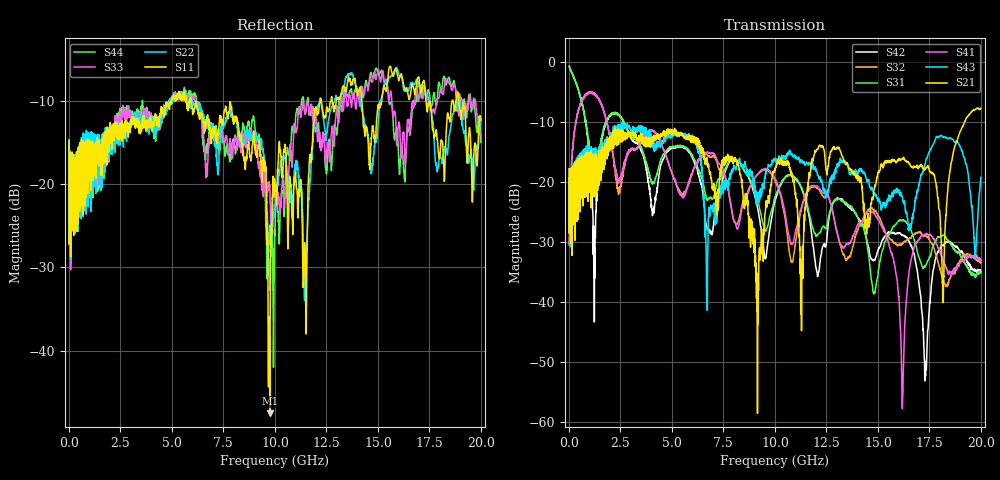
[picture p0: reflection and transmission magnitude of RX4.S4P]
# Hz S  RI  R 50
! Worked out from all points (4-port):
!   1601 points, 10 MHz to 20 GHz, reference 50 ohm
!   strongest paths, dB at 10 MHz, 5.008 GHz, 10.01 GHz, 15 GHz, 20 GHz:
!     S21: -17.7, -12.1, -18.1, -18.5, -7.7
!     S43: -17.7, -12.5, -16.2, -23.0, -19.2
!     S41: -30.2, -18.6, -19.4, -26.3, -33.0
!     S31: -0.7, -14.1, -22.4, -35.6, -35.0
!     S32: -30.5, -18.6, -19.8, -25.7, -33.5
!     S42: -0.7, -14.3, -23.1, -31.4, -35.0
!   lowest |S11| = -47.5 dB at 9.755 GHz (marker M1), VSWR 1.01, Z = 49.6 - j0.0457 ohm
!   |S11| at or under -10 dB: start of sweep to 4.984 GHz; 5.941 GHz to 12.2 GHz (6.256 GHz wide, 69 % of centre); 17.34 GHz to 18.6 GHz (1.263 GHz wide, 7.03 % of centre)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
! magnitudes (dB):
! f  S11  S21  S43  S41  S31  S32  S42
! 10 MHz  -14.8  -17.7  -17.7  -30.2  -0.7  -30.5  -0.7
! 1.222 GHz  -18.4  -22.4  -18.0  -5.1  -21.5  -5.1  -30.6
! 2.209 GHz  -13.6  -13.2  -11.9  -16.6  -8.4  -17.1  -8.5
! 9.755 GHz  -47.5  -21.8  -17.4  -18.1  -25.6  -18.4  -27.8
! 16.19 GHz  -7.3  -16.1  -22.4  -57.8  -26.3  -30.3  -28.8
! 18.16 GHz  -15.9  -37.5  -12.5  -33.0  -28.9  -36.4  -30.6
! 20 GHz  -12.3  -7.7  -19.2  -33.0  -35.0  -33.5  -35.0
